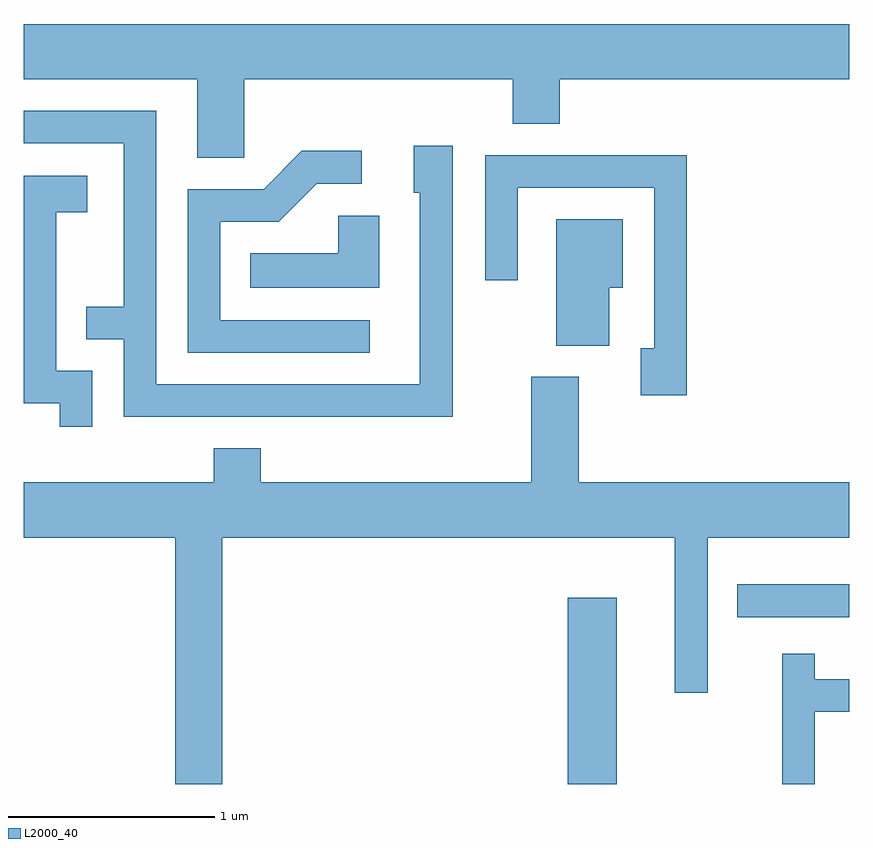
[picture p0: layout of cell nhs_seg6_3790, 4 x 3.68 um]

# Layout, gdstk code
import gdstk
lib = gdstk.Library(unit=1e-6, precision=1e-09)
def R(c, l, rs):  # rectangles x0, y0, x1, y1
    for r in rs: c.add(gdstk.rectangle(r[:2], r[2:], *l))
def P(c, l, *ps):  # polygons
    for p in ps: c.add(gdstk.Polygon(p, *l))
L2000_40 = (2000, 40)

nhs_seg6_3790 = lib.new_cell('nhs_seg6_3790')
R(nhs_seg6_3790, L2000_40, [(302.246,1562.162,302.484,1563.064), (303.068,1562.971,303.611,1563.129)])
P(nhs_seg6_3790, L2000_40, [(300.679,1565.576),(301.981,1565.576),(301.981,1565.361),(302.209,1565.361),(302.209,1565.576),(303.611,1565.576),(303.611,1565.844),(299.611,1565.844),(299.611,1565.576),(300.451,1565.576),(300.451,1565.196),(300.679,1565.196)],
  [(301.689,1565.254),(301.501,1565.254),(301.501,1565.026),(301.531,1565.026),(301.531,1564.099),(300.254,1564.099),(300.254,1565.424),(299.611,1565.424),(299.611,1565.266),(300.096,1565.266),(300.096,1564.474),(299.913,1564.474),(299.913,1564.316),(300.096,1564.316),(300.096,1563.941),(301.689,1563.941)],
  [(301.288,1564.409),(300.564,1564.409),(300.564,1564.886),(300.847,1564.886),(301.032,1565.071),(301.248,1565.071),(301.248,1565.229),(300.959,1565.229),(300.774,1565.044),(300.406,1565.044),(300.406,1564.251),(301.288,1564.251)],
  [(302.824,1565.209),(301.846,1565.209),(301.846,1564.603),(302.004,1564.603),(302.004,1565.051),(302.666,1565.051),(302.666,1564.274),(302.601,1564.274),(302.601,1564.046),(302.824,1564.046)],
  [(299.944,1564.164),(299.769,1564.164),(299.769,1564.931),(299.919,1564.931),(299.919,1565.109),(299.611,1565.109),(299.611,1564.006),(299.786,1564.006),(299.786,1563.893),(299.944,1563.893)],
  [(301.334,1564.914),(301.136,1564.914),(301.136,1564.734),(300.708,1564.734),(300.708,1564.566),(301.334,1564.566)],
  [(302.449,1564.566),(302.514,1564.566),(302.514,1564.899),(302.191,1564.899),(302.191,1564.286),(302.449,1564.286)],
  [(302.071,1564.134),(302.071,1563.624),(300.759,1563.624),(300.759,1563.789),(300.531,1563.789),(300.531,1563.624),(299.611,1563.624),(299.611,1563.356),(300.346,1563.356),(300.346,1562.162),(300.574,1562.162),(300.574,1563.356),(302.766,1563.356),(302.766,1562.603),(302.924,1562.603),(302.924,1563.356),(303.611,1563.356),(303.611,1563.624),(302.299,1563.624),(302.299,1564.134)],
  [(303.444,1562.511),(303.611,1562.511),(303.611,1562.669),(303.444,1562.669),(303.444,1562.793),(303.286,1562.793),(303.286,1562.162),(303.444,1562.162)])

lib.write_gds('nhs_seg6_3790.gds')
